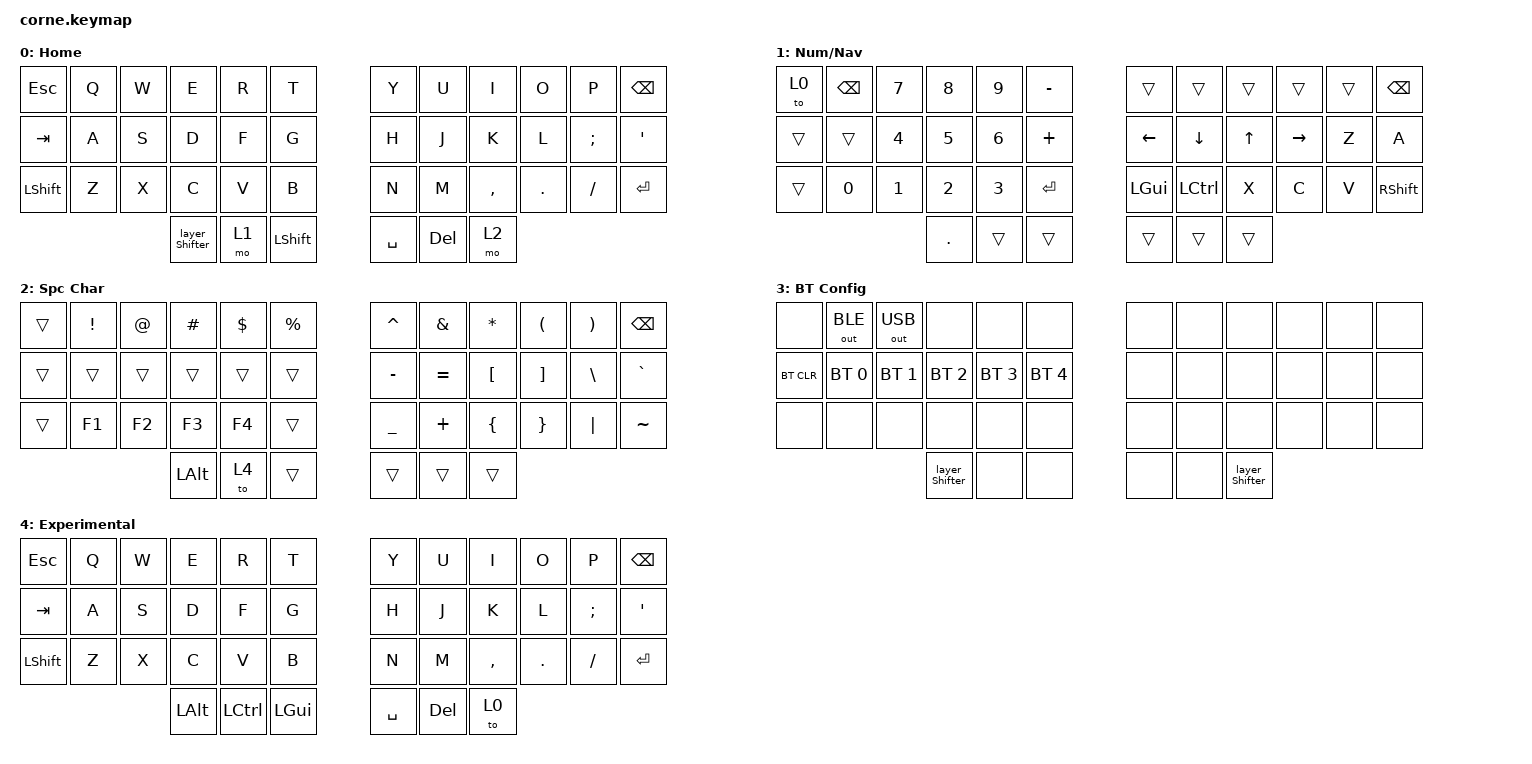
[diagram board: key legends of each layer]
/*
 * Copyright (c) 2020 The ZMK Contributors
 *
 * SPDX-License-Identifier: MIT
 */

#include <behaviors.dtsi>
#include <dt-bindings/zmk/bt.h>
#include <dt-bindings/zmk/keys.h>
#include <dt-bindings/zmk/outputs.h>

/ {
    behaviors {
        layer_Shifter: layer_Shifter {
            compatible = "zmk,behavior-tap-dance";
            label = "LAYER_SHIFTER";
            #binding-cells = <0>;
            bindings = <&tog 0>, <&tog 1>, <&tog 3>;
        };
    };

    combos {
        compatible = "zmk,combos";

        Lock {
            bindings = <&win_lock>;
            key-positions = <0 11>;
        };

        Screen_Shot {
            bindings = <&scrnshot>;
            key-positions = <0 5>;
        };

        Copy {
            bindings = <&copy>;
            key-positions = <15 17>;
        };

        Paste {
            bindings = <&paste>;
            key-positions = <29 15>;
        };

        cut {
            bindings = <&cut>;
            key-positions = <5 15>;
        };

        tab-forward {
            bindings = <&tab_ahead>;
            key-positions = <0 2>;
        };

        tab_back {
            bindings = <&tab_back>;
            key-positions = <14 0>;
        };

        tab_close {
            bindings = <&close_tab>;
            key-positions = <12 14>;
        };

        tab_reopen {
            bindings = <&reopen_tab>;
            key-positions = <12 26>;
        };

        crashout_home {
            bindings = <&to 0>;
            key-positions = <24 35>;
        };

        alt-f4 {
            bindings = <&alt_f4>;
            key-positions = <24 5>;
        };
    };

    macros {
        win_lock: win_lock {
            compatible = "zmk,behavior-macro";
            #binding-cells = <0>;
            bindings = <&kp LG(L)>;
            label = "WIN_LOCK";
        };

        scrnshot: scrnshot {
            compatible = "zmk,behavior-macro";
            #binding-cells = <0>;
            bindings = <&kp LG(LS(S))>;
            label = "SCRNSHOT";
        };

        copy: copy {
            compatible = "zmk,behavior-macro";
            #binding-cells = <0>;
            bindings = <&kp LC(C)>;
            label = "COPY";
        };

        paste: paste {
            compatible = "zmk,behavior-macro";
            #binding-cells = <0>;
            bindings = <&kp LC(V)>;
            label = "PASTE";
        };

        cut: cut {
            compatible = "zmk,behavior-macro";
            #binding-cells = <0>;
            bindings = <&kp LC(X)>;
            label = "CUT";
        };

        tab_ahead: tab_ahead {
            compatible = "zmk,behavior-macro";
            #binding-cells = <0>;
            bindings = <&kp LC(TAB)>;
            label = "TAB_AHEAD";
        };

        tab_back: tab_back {
            compatible = "zmk,behavior-macro";
            #binding-cells = <0>;
            bindings = <&kp LC(LS(TAB))>;
            label = "TAB_BACK";
        };

        close_tab: close_tab {
            compatible = "zmk,behavior-macro";
            #binding-cells = <0>;
            bindings = <&kp LC(W)>;
            label = "CLOSE_TAB";
        };

        reopen_tab: reopen_tab {
            compatible = "zmk,behavior-macro";
            #binding-cells = <0>;
            bindings = <&kp LC(LS(T))>;
            label = "REOPEN_TAB";
        };

        alt_f4: alt_f4 {
            compatible = "zmk,behavior-macro";
            #binding-cells = <0>;
            bindings = <&kp LA(F4)>;
            label = "ALT_F4";
        };
    };

    keymap {
        compatible = "zmk,keymap";

        Home {
            // -----------------------------------------------------------------------------------------
            // |  TAB |  Q  |  W  |  E  |  R  |  T  |   |  Y  |  U   |  I  |  O  |  P  | BKSP |
            // | CTRL |  A  |  S  |  D  |  F  |  G  |   |  H  |  J   |  K  |  L  |  ;  |  '   |
            // | SHFT |  Z  |  X  |  C  |  V  |  B  |   |  N  |  M   |  ,  |  .  |  /  | ESC  |
            //                    | GUI | LWR | SPC |   | ENT | RSE  | ALT |

            display-name = "Home";
            bindings = <
&kp ESCAPE  &kp Q  &kp W  &kp E           &kp R  &kp T             &kp Y      &kp U    &kp I      &kp O    &kp P          &kp BSPC
&kp TAB     &kp A  &kp S  &kp D           &kp F  &kp G             &kp H      &kp J    &kp K      &kp L    &kp SEMICOLON  &kp SQT
&kp LSHFT   &kp Z  &kp X  &kp C           &kp V  &kp B             &kp N      &kp M    &kp COMMA  &kp DOT  &kp FSLH       &kp ENTER
                          &layer_Shifter  &mo 1  &kp LEFT_SHIFT    &kp SPACE  &kp DEL  &mo 2
            >;
        };

        Num_Nav {
            // -----------------------------------------------------------------------------------------
            // |  TAB |  1  |  2  |  3  |  4  |  5  |   |  6  |  7  |  8  |  9  |  0  | BKSP |
            // | BTCLR| BT1 | BT2 | BT3 | BT4 | BT5 |   | LFT | DWN |  UP | RGT |     |      |
            // | SHFT |     |     |     |     |     |   |     |     |     |     |     |      |
            //                    | GUI |     | SPC |   | ENT |     | ALT |

            display-name = "Num/Nav";
            bindings = <
&to 0   &kp BACKSPACE  &kp NUMBER_7  &kp NUMBER_8  &kp NUMBER_9  &kp MINUS    &trans        &trans            &trans  &trans     &trans  &kp BACKSPACE
&trans  &trans         &kp NUMBER_4  &kp NUMBER_5  &kp NUMBER_6  &kp PLUS     &kp LEFT      &kp DOWN          &kp UP  &kp RIGHT  &kp Z   &kp A
&trans  &kp NUMBER_0   &kp NUMBER_1  &kp NUMBER_2  &kp NUMBER_3  &kp ENTER    &kp LEFT_GUI  &kp LEFT_CONTROL  &kp X   &kp C      &kp V   &kp RSHFT
                                     &kp PERIOD    &trans        &trans       &trans        &trans            &trans
            >;
        };

        Special_Characters {
            // -----------------------------------------------------------------------------------------
            // |  TAB |  !  |  @  |  #  |  $  |  %  |   |  ^  |  &  |  *  |  (  |  )  | BKSP |
            // | CTRL |     |     |     |     |     |   |  -  |  =  |  [  |  ]  |  \  |  `   |
            // | SHFT |     |     |     |     |     |   |  _  |  +  |  {  |  }  | "|" |  ~   |
            //                    | GUI |     | SPC |   | ENT |     | ALT |

            display-name = "Spc Char";
            bindings = <
&trans  &kp EXCL  &kp AT  &kp HASH      &kp DLLR  &kp PRCNT    &kp CARET  &kp AMPS   &kp ASTRK  &kp LPAR  &kp RPAR  &kp BSPC
&trans  &trans    &trans  &trans        &trans    &trans       &kp MINUS  &kp EQUAL  &kp LBKT   &kp RBKT  &kp BSLH  &kp GRAVE
&trans  &kp F1    &kp F2  &kp F3        &kp F4    &trans       &kp UNDER  &kp PLUS   &kp LBRC   &kp RBRC  &kp PIPE  &kp TILDE
                          &kp LEFT_ALT  &to 4     &trans       &trans     &trans     &trans
            >;
        };

        BT_Extra {
            display-name = "BT Config";
            bindings = <
&none       &out OUT_BLE  &out OUT_USB  &none           &none         &none           &none  &none  &none           &none  &none  &none
&bt BT_CLR  &bt BT_SEL 0  &bt BT_SEL 1  &bt BT_SEL 2    &bt BT_SEL 3  &bt BT_SEL 4    &none  &none  &none           &none  &none  &none
&none       &none         &none         &none           &none         &none           &none  &none  &none           &none  &none  &none
                                        &layer_Shifter  &none         &none           &none  &none  &layer_Shifter
            >;
        };

        experimantal {
            display-name = "Experimental";
            bindings = <
&kp ESC    &kp Q  &kp W  &kp E         &kp R             &kp T           &kp Y      &kp U    &kp I      &kp O    &kp P     &kp BSPC
&kp TAB    &kp A  &kp S  &kp D         &kp F             &kp G           &kp H      &kp J    &kp K      &kp L    &kp SEMI  &kp APOS
&kp LSHFT  &kp Z  &kp X  &kp C         &kp V             &kp B           &kp N      &kp M    &kp COMMA  &kp DOT  &kp FSLH  &kp ENTER
                         &kp LEFT_ALT  &kp LEFT_CONTROL  &kp LEFT_GUI    &kp SPACE  &kp DEL  &to 0
            >;
        };
    };

    conditional_layers { compatible = "zmk,conditional-layers"; };
};
